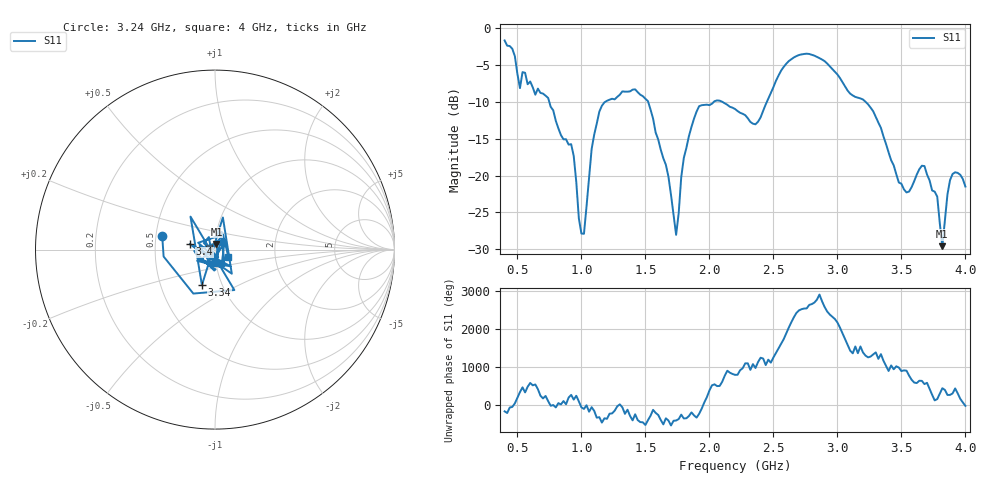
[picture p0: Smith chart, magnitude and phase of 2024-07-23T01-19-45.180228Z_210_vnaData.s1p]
!Created with skrf (http://scikit-rf.org).
# Hz S RI R 50.0
!freq ReS11 ImS11
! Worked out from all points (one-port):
!   181 points, 400 MHz to 4 GHz, reference 50 ohm
!   lowest |S11| = -29.6 dB at 3.82 GHz (marker M1), VSWR 1.07, Z = 50.7 + j3.26 ohm
!   |S11| at or under -10 dB: 749.1 MHz to 1.185 GHz (436.1 MHz wide, 45.1 % of centre); 1.522 GHz to 2.034 GHz (512.3 MHz wide, 28.8 % of centre); 3.221 GHz to end of sweep (the widest 3 of 4)
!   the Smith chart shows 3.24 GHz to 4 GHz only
!   S11 on the Smith chart (normalised r, x): 3.24 GHz: 0.54, +0.09; 3.34 GHz: 0.80, -0.33; 3.4 GHz: 0.75, +0.05; 4 GHz: 1.16, -0.09
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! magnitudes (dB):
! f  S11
! 400 MHz  -1.6
! 520 MHz  -8.1
! 740 MHz  -9.5
! 860 MHz  -15.1
! 940 MHz  -17.3
! 980 MHz  -25.8
! 1.02 GHz  -27.9
! 1.08 GHz  -16.4
! 1.14 GHz  -11.3
! 1.3 GHz  -9.0
! 1.52 GHz  -9.9
! 1.74 GHz  -28.0
! 1.76 GHz  -25.1
! 1.8 GHz  -17.6
! 1.92 GHz  -10.6
! 2.2 GHz  -11.0
! 2.36 GHz  -13.0
! 2.66 GHz  -4.0
! 3.1 GHz  -8.9
! 3.24 GHz  -10.3
! 3.34 GHz  -13.5
! 3.4 GHz  -16.8
! 3.56 GHz  -22.2
! 3.68 GHz  -18.7
! 3.78 GHz  -22.9
! 3.82 GHz  -29.6
! 3.88 GHz  -20.6
! 4 GHz  -21.5
